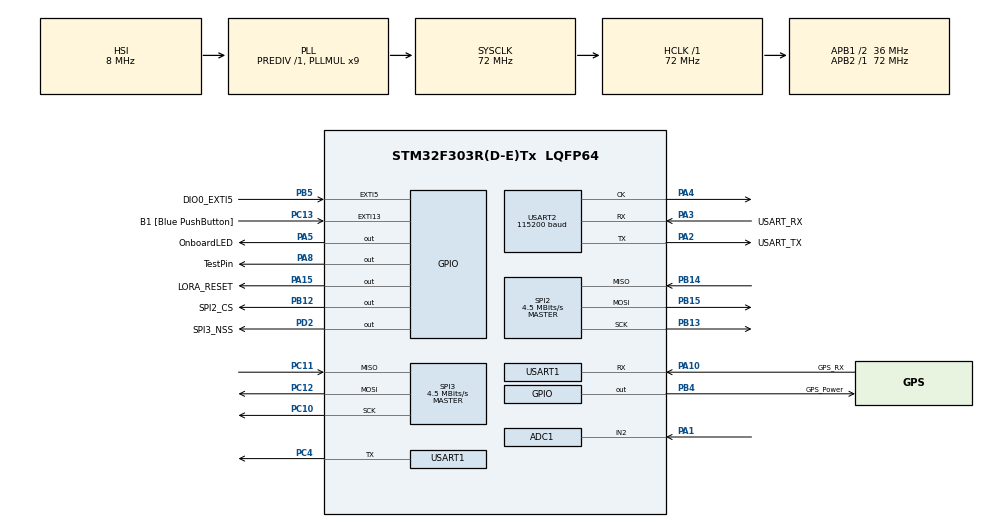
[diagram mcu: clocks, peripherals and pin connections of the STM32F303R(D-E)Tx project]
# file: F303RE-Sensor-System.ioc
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ADC1.Channel-0\#ChannelRegularConversion=ADC_CHANNEL_2
ADC1.NbrOfConversionFlag=1
ADC1.Offset-0\#ChannelRegularConversion=0
ADC1.OffsetNumber-0\#ChannelRegularConversion=ADC_OFFSET_NONE
ADC1.Rank-0\#ChannelRegularConversion=1
ADC1.SamplingTime-0\#ChannelRegularConversion=ADC_SAMPLETIME_1CYCLE_5
ADC1.SamplingTimeOPAMP-0\#ChannelRegularConversion=ADC_SAMPLETIME_61CYCLES_5
ADC1.master=1
Dma.Request0=SPI3_TX
Dma.SPI3_TX.0.Direction=DMA_MEMORY_TO_PERIPH
Dma.SPI3_TX.0.Instance=DMA2_Channel2
Dma.SPI3_TX.0.MemDataAlignment=DMA_MDATAALIGN_BYTE
Dma.SPI3_TX.0.MemInc=DMA_MINC_ENABLE
Dma.SPI3_TX.0.Mode=DMA_NORMAL
Dma.SPI3_TX.0.PeriphDataAlignment=DMA_PDATAALIGN_BYTE
Dma.SPI3_TX.0.PeriphInc=DMA_PINC_DISABLE
Dma.SPI3_TX.0.Priority=DMA_PRIORITY_LOW
FATFS._CODE_PAGE=1
FATFS._FS_REENTRANT=0
FATFS._MAX_SS=4096
FATFS._USE_LFN=0
FREERTOS.Queues01=sensorQueue,16,uint16_t,0,Dynamic,NULL,NULL;commandQueue,16,8,1,Dynamic,NULL,NULL
FREERTOS.Tasks01=defaultTask,16,512,StartDefaultTask,Default,NULL,Dynamic,NULL,NULL;sensorTask,8,512,StartSensorTask,Default,NULL,Dynamic,NULL,NULL;loggingTask,8,1280,StartLoggingTask,Default,NULL,Dynamic,NULL,NULL;commandTask,8,512,StartCommandTask,Default,NULL,Dynamic,NULL,NULL;commProcessTask,8,256,StartCommandProcessTask,Default,NULL,Dynamic,NULL,NULL
FREERTOS.configTOTAL_HEAP_SIZE=16384
FREERTOS.configUSE_NEWLIB_REENTRANT=0
Mcu.Family=STM32F3
Mcu.Name=STM32F303R(D-E)Tx
Mcu.Package=LQFP64
NVIC.ADC1_2_IRQn=true\:5\:0\:false\:false\:true\:true\:true\:true\:true
NVIC.DMA2_Channel2_IRQn=true\:5\:0\:false\:false\:true\:true\:false\:true\:true
NVIC.EXTI9_5_IRQn=true\:5\:0\:false\:false\:true\:true\:true\:true\:true
NVIC.PriorityGroup=NVIC_PRIORITYGROUP_4
NVIC.TIM6_DAC_IRQn=true\:15\:0\:false\:false\:true\:false\:false\:true\:true
NVIC.TimeBase=TIM6_DAC_IRQn
NVIC.TimeBaseIP=TIM6
NVIC.USART1_IRQn=true\:5\:0\:false\:false\:true\:true\:true\:true\:true
PA1.Mode=IN2-Single-Ended
PA1.Signal=ADC1_IN2
PA10.GPIO_Label=GPS_RX
PA10.Mode=Asynchronous
PA10.Signal=USART1_RX
PA13.GPIO_Label=TMS
PA13.Signal=SYS_JTMS-SWDIO
PA14.GPIO_Label=TCK
PA14.Signal=SYS_JTCK-SWCLK
PA15.GPIO_Label=LORA_RESET
PA15.PinState=GPIO_PIN_SET
PA15.Signal=GPIO_Output
PA2.GPIO_Label=USART_TX
PA2.GPIO_Mode=GPIO_MODE_AF_PP
PA2.GPIO_PuPd=GPIO_NOPULL
PA2.GPIO_Speed=GPIO_SPEED_FREQ_LOW
PA2.Mode=Synchronous
PA2.Signal=USART2_TX
PA3.GPIO_Label=USART_RX
PA3.GPIO_Mode=GPIO_MODE_AF_PP
PA3.GPIO_PuPd=GPIO_NOPULL
PA3.GPIO_Speed=GPIO_SPEED_FREQ_LOW
PA3.Mode=Synchronous
PA3.Signal=USART2_RX
PA4.Mode=Synchronous
PA4.Signal=USART2_CK
PA5.GPIO_Label=OnboardLED
PA5.GPIO_Mode=GPIO_MODE_OUTPUT_PP
PA5.GPIO_PuPd=GPIO_NOPULL
PA5.GPIO_Speed=GPIO_SPEED_FREQ_LOW
PA5.Signal=GPIO_Output
PA8.GPIO_Label=TestPin
PA8.Signal=GPIO_Output
PB12.GPIO_Label=SPI2_CS
PB12.PinState=GPIO_PIN_SET
PB12.Signal=GPIO_Output
PB13.Mode=Full_Duplex_Master
PB13.Signal=SPI2_SCK
PB14.Mode=Full_Duplex_Master
PB14.Signal=SPI2_MISO
PB15.Mode=Full_Duplex_Master
PB15.Signal=SPI2_MOSI
PB3.GPIO_Label=SWO
PB3.Signal=SYS_JTDO-TRACESWO
PB4.GPIO_Label=GPS_Power
PB4.PinState=GPIO_PIN_SET
PB4.Signal=GPIO_Output
PB5.GPIO_Label=DIO0_EXTI5
PB5.Signal=GPXTI5
PC10.Mode=Full_Duplex_Master
PC10.Signal=SPI3_SCK
PC11.Mode=Full_Duplex_Master
PC11.Signal=SPI3_MISO
PC12.Mode=Full_Duplex_Master
PC12.Signal=SPI3_MOSI
PC13.GPIO_Label=B1 [Blue PushButton]
PC13.GPIO_ModeDefaultEXTI=GPIO_MODE_IT_FALLING
PC13.Signal=GPXTI13
PC14-OSC32_IN.Signal=RCC_OSC32_IN
PC15-OSC32_OUT.Signal=RCC_OSC32_OUT
PC4.Mode=Asynchronous
PC4.Signal=USART1_TX
PD2.GPIO_Label=SPI3_NSS
PD2.PinState=GPIO_PIN_SET
PD2.Signal=GPIO_Output
PF0-OSC_IN.Signal=RCC_OSC_IN
PF1-OSC_OUT.Signal=RCC_OSC_OUT
ProjectManager.HeapSize=0x200
ProjectManager.StackSize=0x400
ProjectManager.TargetToolchain=STM32CubeIDE
RCC.AHBFreq_Value=72000000
RCC.APB1CLKDivider=RCC_HCLK_DIV2
RCC.APB1Freq_Value=36000000
RCC.APB1TimFreq_Value=72000000
RCC.APB2Freq_Value=72000000
RCC.APB2TimFreq_Value=72000000
RCC.CortexFreq_Value=72000000
RCC.HCLKFreq_Value=72000000
RCC.HSE_VALUE=8000000
RCC.HSI_VALUE=8000000
RCC.LSE_VALUE=32768
RCC.PLLM=8
RCC.PLLMUL=RCC_PLL_MUL9
RCC.PLLN=336
RCC.PLLP=RCC_PLLP_DIV4
RCC.PLLQ=7
RCC.RCC_PLLsource_Clock_Source_FROM_HSE=RCC_HSE_PREDIV_DIV2
RCC.SYSCLKFreq_VALUE=72000000
RCC.SYSCLKSourceVirtual=RCC_SYSCLKSOURCE_PLLCLK
RCC.USBFreq_Value=72000000
SPI2.BaudRatePrescaler=SPI_BAUDRATEPRESCALER_8
SPI2.CalculateBaudRate=4.5 MBits/s
SPI2.DataSize=SPI_DATASIZE_8BIT
SPI2.Direction=SPI_DIRECTION_2LINES
SPI2.Mode=SPI_MODE_MASTER
SPI2.VirtualType=VM_MASTER
SPI3.BaudRatePrescaler=SPI_BAUDRATEPRESCALER_8
SPI3.CalculateBaudRate=4.5 MBits/s
SPI3.DataSize=SPI_DATASIZE_8BIT
SPI3.Direction=SPI_DIRECTION_2LINES
SPI3.Mode=SPI_MODE_MASTER
SPI3.VirtualType=VM_MASTER
USART1.BaudRate=9600
USART1.Mode=MODE_RX
USART1.VirtualMode-Asynchronous=VM_ASYNC
USART2.BaudRate=115200
USART2.VirtualMode-Synchronous=VM_SYNC
VP_FATFS_VS_Generic.Mode=User_defined
VP_FREERTOS_VS_CMSIS_V2.Mode=CMSIS_V2
VP_RTC_VS_RTC_Activate.Mode=RTC_Enabled
VP_RTC_VS_RTC_Calendar.Mode=RTC_Calendar
VP_SYS_VS_tim6.Mode=TIM6
board=NUCLEO-F303RE

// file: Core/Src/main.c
/* USER CODE BEGIN Header */
/**
  ******************************************************************************
  * @file           : main.c
  * @brief          : Main program body
  ******************************************************************************
  * @attention
  *
  * Copyright (c) 2024 STMicroelectronics.
  * All rights reserved.
  *
  * This software is licensed under terms that can be found in the LICENSE file
  * in the root directory of this software component.
  * If no LICENSE file comes with this software, it is provided AS-IS.
  *
  ******************************************************************************
  */

/**
 * D0 / D1 (PA2/3) used for USART2 for debugging / husart2
 * D2 (PA10) used for RX for GPS Module to get the current time for the system / huart1
 * D5 (PB4) GPS Power pin. Turn off to reset. (check if the module has a dedicated reset)
 * D13 used for onboard LED
 *
 * PB12 (CN10/Pin16) Flash SPI CS
 * PB13 (CN10/Pin30) Flash SPI CLK
 * PB14 (CN10/Pin28) Flash SPI MISO
 * PB15 (CN10/Pin26) Flash SPI MOSI
 *
 * PA8/D7 Test Pin
 *
 * PD2 (CN6/Pin4) LORA SPI NSS
 * PC10 (CN7/Pin1) LORA SPI CLK
 * PC11 (CN6/Pin2) LORA SPI MISO
 * PC12 (CN7/Pin3) LORA SPI MOSI
 * PA15 (CN7/Pin17) LORA RESET
 * PB5/D4 (CN9/Pin5) DIO0 External interrupt
 *
 * A1 (PA1) for Turbidity sensor
 * */

/* USER CODE END Header */
#include "main.h"
#include "cmsis_os.h"
#include "fatfs.h"

/* USER CODE BEGIN Includes */
//#include "buffer.h"
#include "lora_sx1276.h"
#include "gps.h"
#include "logger.h"
#include <time.h>
#include <stdlib.h>
/* USER CODE END Includes */

ADC_HandleTypeDef hadc1;

RTC_HandleTypeDef hrtc;

SPI_HandleTypeDef hspi2;
SPI_HandleTypeDef hspi3;
DMA_HandleTypeDef hdma_spi3_tx;

UART_HandleTypeDef huart1;
USART_HandleTypeDef husart2;

/* Definitions for defaultTask */
osThreadId_t defaultTaskHandle;
const osThreadAttr_t defaultTask_attributes = {
  .name = "defaultTask",
  .stack_size = 512 * 4,
  .priority = (osPriority_t) osPriorityBelowNormal,
};
/* Definitions for sensorTask */
osThreadId_t sensorTaskHandle;
const osThreadAttr_t sensorTask_attributes = {
  .name = "sensorTask",
  .stack_size = 512 * 4,
  .priority = (osPriority_t) osPriorityLow,
};
/* Definitions for loggingTask */
osThreadId_t loggingTaskHandle;
const osThreadAttr_t loggingTask_attributes = {
  .name = "loggingTask",
  .stack_size = 1280 * 4,
  .priority = (osPriority_t) osPriorityLow,
};
/* Definitions for commandTask */
osThreadId_t commandTaskHandle;
const osThreadAttr_t commandTask_attributes = {
  .name = "commandTask",
  .stack_size = 512 * 4,
  .priority = (osPriority_t) osPriorityLow,
};
/* Definitions for commProcessTask */
osThreadId_t commProcessTaskHandle;
const osThreadAttr_t commProcessTask_attributes = {
  .name = "commProcessTask",
  .stack_size = 256 * 4,
  .priority = (osPriority_t) osPriorityLow,
};
/* Definitions for sensorQueue */
osMessageQueueId_t sensorQueueHandle;
const osMessageQueueAttr_t sensorQueue_attributes = {
  .name = "sensorQueue"
};
/* Definitions for commandQueue */
osMessageQueueId_t commandQueueHandle;
const osMessageQueueAttr_t commandQueue_attributes = {
  .name = "commandQueue"
};

void SystemClock_Config(void);
static void MX_GPIO_Init(void);
static void MX_DMA_Init(void);
static void MX_USART1_UART_Init(void);
static void MX_USART2_Init(void);
static void MX_RTC_Init(void);
static void MX_SPI2_Init(void);
static void MX_ADC1_Init(void);
static void MX_SPI3_Init(void);
void StartDefaultTask(void *argument);
void StartSensorTask(void *argument);
void StartLoggingTask(void *argument);
void StartCommandTask(void *argument);
void StartCommandProcessTask(void *argument);

/* USER CODE BEGIN 0 */

char debugBuffer[64] = {0};

uint8_t gps_rxBuffer[16] = {0};
volatile uint16_t gpsBytesInBuffer = 0;
volatile uint8_t startWaterSensing = 0;
volatile uint16_t waterSensorValue = 0;

lora_sx1276 lora;
uint8_t RXBuffer[64];
volatile uint8_t RXBufferStatus = 0; //1 is good and ready to read.

volatile uint8_t interruptTriggerDebug = 0; //For testing interrupts

//last recorded readings and data
uint16_t lastSensorS1Reading = 0;
logData_t lastLogLineRecorded;

/* USER CODE END 0 */

int main(void)
{

  /* MCU Configuration--------------------------------------------------------*/

  /* Reset of all peripherals, Initializes the Flash interface and the Systick. */
  HAL_Init();

  /* Configure the system clock */
  SystemClock_Config();

  /* Initialize all configured peripherals */
  MX_GPIO_Init();
  MX_DMA_Init();
  MX_USART1_UART_Init();
  MX_USART2_Init();
  MX_RTC_Init();
  MX_SPI2_Init();
  MX_FATFS_Init();
  MX_ADC1_Init();
  MX_SPI3_Init();
  /* USER CODE BEGIN 2 */

  //Add any pre-RTOS code here before it takes over
  HAL_GPIO_WritePin(OnboardLED_GPIO_Port, OnboardLED_Pin, GPIO_PIN_SET);

  // SX1276 compatible module connected to SPI1, NSS pin connected to GPIO with label LORA_NSS
  uint8_t res = lora_init(&lora, &hspi3, SPI3_NSS_GPIO_Port, SPI3_NSS_Pin, LORA_BASE_FREQUENCY_US);

  if (res != LORA_OK) {
  	DebugOutput("RFM95 init failed", res);
  } else {
	DebugOutput("RFM95 init success", res);
  }

  /* USER CODE END 2 */

  /* Init scheduler */
  osKernelInitialize();

  /* Create the queue(s) */
  /* creation of sensorQueue */
  sensorQueueHandle = osMessageQueueNew (16, sizeof(uint16_t), &sensorQueue_attributes);

  /* creation of commandQueue */
  commandQueueHandle = osMessageQueueNew (16, 8, &commandQueue_attributes);

  /* Create the thread(s) */
  /* creation of defaultTask */
  defaultTaskHandle = osThreadNew(StartDefaultTask, NULL, &defaultTask_attributes);

  /* creation of sensorTask */
  sensorTaskHandle = osThreadNew(StartSensorTask, NULL, &sensorTask_attributes);

  /* creation of loggingTask */
  loggingTaskHandle = osThreadNew(StartLoggingTask, NULL, &loggingTask_attributes);

  /* creation of commandTask */
  commandTaskHandle = osThreadNew(StartCommandTask, NULL, &commandTask_attributes);

  /* creation of commProcessTask */
  commProcessTaskHandle = osThreadNew(StartCommandProcessTask, NULL, &commProcessTask_attributes);

  /* Start scheduler */
  osKernelStart();

  /* We should never get here as control is now taken by the scheduler */

  /* Infinite loop */
  /* USER CODE BEGIN WHILE */

  while (1)
  {
	  DebugOutput("Warning! Should not reach here under FreeRTOS. ", 999);
	  HAL_Delay(3000);

    /* USER CODE END WHILE */

  }
}

void SystemClock_Config(void)
{
  RCC_OscInitTypeDef RCC_OscInitStruct = {0};
  RCC_ClkInitTypeDef RCC_ClkInitStruct = {0};
  RCC_PeriphCLKInitTypeDef PeriphClkInit = {0};

  /** Initializes the RCC Oscillators according to the specified parameters
  * in the RCC_OscInitTypeDef structure.
  */
  RCC_OscInitStruct.OscillatorType = RCC_OSCILLATORTYPE_HSI|RCC_OSCILLATORTYPE_LSI;
  RCC_OscInitStruct.HSIState = RCC_HSI_ON;
  RCC_OscInitStruct.HSICalibrationValue = RCC_HSICALIBRATION_DEFAULT;
  RCC_OscInitStruct.LSIState = RCC_LSI_ON;
  RCC_OscInitStruct.PLL.PLLState = RCC_PLL_ON;
  RCC_OscInitStruct.PLL.PLLSource = RCC_PLLSOURCE_HSI;
  RCC_OscInitStruct.PLL.PLLMUL = RCC_PLL_MUL9;
  RCC_OscInitStruct.PLL.PREDIV = RCC_PREDIV_DIV1;
  if (HAL_RCC_OscConfig(&RCC_OscInitStruct) != HAL_OK)
  {
    Error_Handler();
  }

  /** Initializes the CPU, AHB and APB buses clocks
  */
  RCC_ClkInitStruct.ClockType = RCC_CLOCKTYPE_HCLK|RCC_CLOCKTYPE_SYSCLK
                              |RCC_CLOCKTYPE_PCLK1|RCC_CLOCKTYPE_PCLK2;
  RCC_ClkInitStruct.SYSCLKSource = RCC_SYSCLKSOURCE_PLLCLK;
  RCC_ClkInitStruct.AHBCLKDivider = RCC_SYSCLK_DIV1;
  RCC_ClkInitStruct.APB1CLKDivider = RCC_HCLK_DIV2;
  RCC_ClkInitStruct.APB2CLKDivider = RCC_HCLK_DIV1;

  if (HAL_RCC_ClockConfig(&RCC_ClkInitStruct, FLASH_LATENCY_2) != HAL_OK)
  {
    Error_Handler();
  }
  PeriphClkInit.PeriphClockSelection = RCC_PERIPHCLK_USART1|RCC_PERIPHCLK_USART2
                              |RCC_PERIPHCLK_RTC|RCC_PERIPHCLK_ADC12;
  PeriphClkInit.Usart1ClockSelection = RCC_USART1CLKSOURCE_PCLK2;
  PeriphClkInit.Usart2ClockSelection = RCC_USART2CLKSOURCE_PCLK1;
  PeriphClkInit.Adc12ClockSelection = RCC_ADC12PLLCLK_DIV1;
  PeriphClkInit.RTCClockSelection = RCC_RTCCLKSOURCE_LSI;
  if (HAL_RCCEx_PeriphCLKConfig(&PeriphClkInit) != HAL_OK)
  {
    Error_Handler();
  }
}

static void MX_ADC1_Init(void)
{

  ADC_MultiModeTypeDef multimode = {0};
  ADC_ChannelConfTypeDef sConfig = {0};

  /** Common config
  */
  hadc1.Instance = ADC1;
  hadc1.Init.ClockPrescaler = ADC_CLOCK_ASYNC_DIV1;
  hadc1.Init.Resolution = ADC_RESOLUTION_12B;
  hadc1.Init.ScanConvMode = ADC_SCAN_DISABLE;
  hadc1.Init.ContinuousConvMode = DISABLE;
  hadc1.Init.DiscontinuousConvMode = DISABLE;
  hadc1.Init.ExternalTrigConvEdge = ADC_EXTERNALTRIGCONVEDGE_NONE;
  hadc1.Init.ExternalTrigConv = ADC_SOFTWARE_START;
  hadc1.Init.DataAlign = ADC_DATAALIGN_RIGHT;
  hadc1.Init.NbrOfConversion = 1;
  hadc1.Init.DMAContinuousRequests = DISABLE;
  hadc1.Init.EOCSelection = ADC_EOC_SINGLE_CONV;
  hadc1.Init.LowPowerAutoWait = DISABLE;
  hadc1.Init.Overrun = ADC_OVR_DATA_OVERWRITTEN;
  if (HAL_ADC_Init(&hadc1) != HAL_OK)
  {
    Error_Handler();
  }

  /** Configure the ADC multi-mode
  */
  multimode.Mode = ADC_MODE_INDEPENDENT;
  if (HAL_ADCEx_MultiModeConfigChannel(&hadc1, &multimode) != HAL_OK)
  {
    Error_Handler();
  }

  /** Configure Regular Channel
  */
  sConfig.Channel = ADC_CHANNEL_2;
  sConfig.Rank = ADC_REGULAR_RANK_1;
  sConfig.SingleDiff = ADC_SINGLE_ENDED;
  sConfig.SamplingTime = ADC_SAMPLETIME_1CYCLE_5;
  sConfig.OffsetNumber = ADC_OFFSET_NONE;
  sConfig.Offset = 0;
  if (HAL_ADC_ConfigChannel(&hadc1, &sConfig) != HAL_OK)
  {
    Error_Handler();
  }

}

static void MX_RTC_Init(void)
{

  RTC_TimeTypeDef sTime = {0};
  RTC_DateTypeDef sDate = {0};

  /** Initialize RTC Only
  */
  hrtc.Instance = RTC;
  hrtc.Init.HourFormat = RTC_HOURFORMAT_24;
  hrtc.Init.AsynchPrediv = 127;
  hrtc.Init.SynchPrediv = 255;
  hrtc.Init.OutPut = RTC_OUTPUT_DISABLE;
  hrtc.Init.OutPutPolarity = RTC_OUTPUT_POLARITY_HIGH;
  hrtc.Init.OutPutType = RTC_OUTPUT_TYPE_OPENDRAIN;
  if (HAL_RTC_Init(&hrtc) != HAL_OK)
  {
    Error_Handler();
  }

  /** Initialize RTC and set the Time and Date
  */
  sTime.Hours = 0x0;
  sTime.Minutes = 0x0;
  sTime.Seconds = 0x0;
  sTime.DayLightSaving = RTC_DAYLIGHTSAVING_NONE;
  sTime.StoreOperation = RTC_STOREOPERATION_RESET;
  if (HAL_RTC_SetTime(&hrtc, &sTime, RTC_FORMAT_BCD) != HAL_OK)
  {
    Error_Handler();
  }
  sDate.WeekDay = RTC_WEEKDAY_MONDAY;
  sDate.Month = RTC_MONTH_JANUARY;
  sDate.Date = 0x1;
  sDate.Year = 0x0;

  if (HAL_RTC_SetDate(&hrtc, &sDate, RTC_FORMAT_BCD) != HAL_OK)
  {
    Error_Handler();
  }

}

static void MX_SPI2_Init(void)
{

  /* SPI2 parameter configuration*/
  hspi2.Instance = SPI2;
  hspi2.Init.Mode = SPI_MODE_MASTER;
  hspi2.Init.Direction = SPI_DIRECTION_2LINES;
  hspi2.Init.DataSize = SPI_DATASIZE_8BIT;
  hspi2.Init.CLKPolarity = SPI_POLARITY_LOW;
  hspi2.Init.CLKPhase = SPI_PHASE_1EDGE;
  hspi2.Init.NSS = SPI_NSS_SOFT;
  hspi2.Init.BaudRatePrescaler = SPI_BAUDRATEPRESCALER_8;
  hspi2.Init.FirstBit = SPI_FIRSTBIT_MSB;
  hspi2.Init.TIMode = SPI_TIMODE_DISABLE;
  hspi2.Init.CRCCalculation = SPI_CRCCALCULATION_DISABLE;
  hspi2.Init.CRCPolynomial = 7;
  hspi2.Init.CRCLength = SPI_CRC_LENGTH_DATASIZE;
  hspi2.Init.NSSPMode = SPI_NSS_PULSE_ENABLE;
  if (HAL_SPI_Init(&hspi2) != HAL_OK)
  {
    Error_Handler();
  }

}

static void MX_SPI3_Init(void)
{

  /* SPI3 parameter configuration*/
  hspi3.Instance = SPI3;
  hspi3.Init.Mode = SPI_MODE_MASTER;
  hspi3.Init.Direction = SPI_DIRECTION_2LINES;
  hspi3.Init.DataSize = SPI_DATASIZE_8BIT;
  hspi3.Init.CLKPolarity = SPI_POLARITY_LOW;
  hspi3.Init.CLKPhase = SPI_PHASE_1EDGE;
  hspi3.Init.NSS = SPI_NSS_SOFT;
  hspi3.Init.BaudRatePrescaler = SPI_BAUDRATEPRESCALER_8;
  hspi3.Init.FirstBit = SPI_FIRSTBIT_MSB;
  hspi3.Init.TIMode = SPI_TIMODE_DISABLE;
  hspi3.Init.CRCCalculation = SPI_CRCCALCULATION_DISABLE;
  hspi3.Init.CRCPolynomial = 7;
  hspi3.Init.CRCLength = SPI_CRC_LENGTH_DATASIZE;
  hspi3.Init.NSSPMode = SPI_NSS_PULSE_ENABLE;
  if (HAL_SPI_Init(&hspi3) != HAL_OK)
  {
    Error_Handler();
  }

}

static void MX_USART1_UART_Init(void)
{

  huart1.Instance = USART1;
  huart1.Init.BaudRate = 9600;
  huart1.Init.WordLength = UART_WORDLENGTH_8B;
  huart1.Init.StopBits = UART_STOPBITS_1;
  huart1.Init.Parity = UART_PARITY_NONE;
  huart1.Init.Mode = UART_MODE_RX;
  huart1.Init.HwFlowCtl = UART_HWCONTROL_NONE;
  huart1.Init.OverSampling = UART_OVERSAMPLING_16;
  huart1.Init.OneBitSampling = UART_ONE_BIT_SAMPLE_DISABLE;
  huart1.AdvancedInit.AdvFeatureInit = UART_ADVFEATURE_NO_INIT;
  if (HAL_UART_Init(&huart1) != HAL_OK)
  {
    Error_Handler();
  }

}

static void MX_USART2_Init(void)
{

  husart2.Instance = USART2;
  husart2.Init.BaudRate = 115200;
  husart2.Init.WordLength = USART_WORDLENGTH_8B;
  husart2.Init.StopBits = USART_STOPBITS_1;
  husart2.Init.Parity = USART_PARITY_NONE;
  husart2.Init.Mode = USART_MODE_TX_RX;
  husart2.Init.CLKPolarity = USART_POLARITY_LOW;
  husart2.Init.CLKPhase = USART_PHASE_1EDGE;
  husart2.Init.CLKLastBit = USART_LASTBIT_DISABLE;
  if (HAL_USART_Init(&husart2) != HAL_OK)
  {
    Error_Handler();
  }

}

static void MX_DMA_Init(void)
{

  /* DMA controller clock enable */
  __HAL_RCC_DMA2_CLK_ENABLE();

  /* DMA interrupt init */
  /* DMA2_Channel2_IRQn interrupt configuration */
  HAL_NVIC_SetPriority(DMA2_Channel2_IRQn, 5, 0);
  HAL_NVIC_EnableIRQ(DMA2_Channel2_IRQn);

}

static void MX_GPIO_Init(void)
{
  GPIO_InitTypeDef GPIO_InitStruct = {0};

  /* GPIO Ports Clock Enable */
  __HAL_RCC_GPIOC_CLK_ENABLE();
  __HAL_RCC_GPIOF_CLK_ENABLE();
  __HAL_RCC_GPIOA_CLK_ENABLE();
  __HAL_RCC_GPIOB_CLK_ENABLE();
  __HAL_RCC_GPIOD_CLK_ENABLE();

  /*Configure GPIO pin Output Level */
  HAL_GPIO_WritePin(GPIOA, OnboardLED_Pin|TestPin_Pin, GPIO_PIN_RESET);

  /*Configure GPIO pin Output Level */
  HAL_GPIO_WritePin(GPIOB, SPI2_CS_Pin|GPS_Power_Pin, GPIO_PIN_SET);

  /*Configure GPIO pin Output Level */
  HAL_GPIO_WritePin(LORA_RESET_GPIO_Port, LORA_RESET_Pin, GPIO_PIN_SET);

  /*Configure GPIO pin Output Level */
  HAL_GPIO_WritePin(SPI3_NSS_GPIO_Port, SPI3_NSS_Pin, GPIO_PIN_SET);

  /*Configure GPIO pin : B1_Pin */
  GPIO_InitStruct.Pin = B1_Pin;
  GPIO_InitStruct.Mode = GPIO_MODE_IT_FALLING;
  GPIO_InitStruct.Pull = GPIO_NOPULL;
  HAL_GPIO_Init(B1_GPIO_Port, &GPIO_InitStruct);

  /*Configure GPIO pins : OnboardLED_Pin TestPin_Pin LORA_RESET_Pin */
  GPIO_InitStruct.Pin = OnboardLED_Pin|TestPin_Pin|LORA_RESET_Pin;
  GPIO_InitStruct.Mode = GPIO_MODE_OUTPUT_PP;
  GPIO_InitStruct.Pull = GPIO_NOPULL;
  GPIO_InitStruct.Speed = GPIO_SPEED_FREQ_LOW;
  HAL_GPIO_Init(GPIOA, &GPIO_InitStruct);

  /*Configure GPIO pins : SPI2_CS_Pin GPS_Power_Pin */
  GPIO_InitStruct.Pin = SPI2_CS_Pin|GPS_Power_Pin;
  GPIO_InitStruct.Mode = GPIO_MODE_OUTPUT_PP;
  GPIO_InitStruct.Pull = GPIO_NOPULL;
  GPIO_InitStruct.Speed = GPIO_SPEED_FREQ_LOW;
  HAL_GPIO_Init(GPIOB, &GPIO_InitStruct);

  /*Configure GPIO pin : SPI3_NSS_Pin */
  GPIO_InitStruct.Pin = SPI3_NSS_Pin;
  GPIO_InitStruct.Mode = GPIO_MODE_OUTPUT_PP;
  GPIO_InitStruct.Pull = GPIO_NOPULL;
  GPIO_InitStruct.Speed = GPIO_SPEED_FREQ_LOW;
  HAL_GPIO_Init(SPI3_NSS_GPIO_Port, &GPIO_InitStruct);

  /*Configure GPIO pin : DIO0_EXTI5_Pin */
  GPIO_InitStruct.Pin = DIO0_EXTI5_Pin;
  GPIO_InitStruct.Mode = GPIO_MODE_IT_RISING;
  GPIO_InitStruct.Pull = GPIO_NOPULL;
  HAL_GPIO_Init(DIO0_EXTI5_GPIO_Port, &GPIO_InitStruct);

  /* EXTI interrupt init*/
  HAL_NVIC_SetPriority(EXTI9_5_IRQn, 5, 0);
  HAL_NVIC_EnableIRQ(EXTI9_5_IRQn);

}

/* USER CODE BEGIN 4 */

//Might need to consider:
//Before starting the next receive operation, make sure the DR register is empty (no data received on the UART interface after the last DR register read) to avoid UART overrun error:
//you can use this macro to flush the DR register: __HAL_UART_FLUSH_DRREGISTER()
//I notice with a reset on the power pin, this callback never recovers.
void HAL_UART_RxCpltCallback(UART_HandleTypeDef *huart){ //call every 16 bytes
//	okToOutput = 1;
//	DebugOutput("HAL_UART_RxCpltCallback", 1);
	gpsBuffer_WriteStreamDataChunkToCircularBuffer(gps_rxBuffer);
	gpsBytesInBuffer += 16;

	if (gps_TimeSyncRequired(hrtc)){
		HAL_UART_Receive_IT(&huart1, gps_rxBuffer, 16);
	}

}

void ADC_IRQHandler(){ //do I need this? Test without it.
    HAL_ADC_IRQHandler(&hadc1);
}

void HAL_ADC_ConvCpltCallback(ADC_HandleTypeDef* hadc){
	waterSensorValue = HAL_ADC_GetValue(&hadc1);
}

//Get time/date as string for logging.
void getSystemDateTimeFormatted(char* buffer){

	RTC_TimeTypeDef currentTime;
	RTC_DateTypeDef currentDate;
	HAL_RTC_GetTime(&hrtc, &currentTime, RTC_FORMAT_BIN);
	HAL_RTC_GetDate(&hrtc, &currentDate, RTC_FORMAT_BIN);

	sprintf(buffer, "%02d:%02d:%02d %02d/%02d/%02d",
		  currentTime.Hours, currentTime.Minutes, currentTime.Seconds,
		  currentDate.Date, currentDate.Month, currentDate.Year
	);
}

void DebugOutput(const char *message, int16_t number){
	//max: 93 message chars, 5 number chars, 2 lf/cr
	char buffer[100];
	snprintf(buffer, sizeof(buffer), "%s%d\r\n", message, number);

	int length = strlen(buffer);
	HAL_USART_Transmit(&husart2, (uint8_t *)buffer, length, 10U);

}

void HAL_GPIO_EXTI_Callback(uint16_t GPIO_Pin){

	if (GPIO_Pin == DIO0_EXTI5_Pin){
		interruptTriggerDebug = 1;

		if (RXBufferStatus == 1)
			return; //don't accept another packet until the first is taken and processed.

		uint8_t len = lora_receive_packet(&lora, RXBuffer, sizeof(RXBuffer), NULL); //no storing error info yet

		if (len > 0) {
			RXBufferStatus = 1;
			interruptTriggerDebug = len;
		}
	}
}

/* USER CODE END 4 */

void StartDefaultTask(void *argument)
{
  /* USER CODE BEGIN 5 */

  HAL_UART_Receive_IT(&huart1, gps_rxBuffer, 16);

  /* Infinite loop */
  for(;;)
  {
	DebugOutput("Running Default Task.", 1);

//	sprintf(debugBuffer, "gpsBytesInBuffer: %d\r\n", gpsBytesInBuffer);
//	HAL_USART_Transmit(&husart2, (uint8_t*)debugBuffer, strlen(debugBuffer), 10U);

	int gpsTimeSyncRequired = gps_TimeSyncRequired(hrtc);

	if (gpsTimeSyncRequired){

		if 	(gpsBytesInBuffer >= 128){
			char *cBuffer;
			cBuffer = gpsBuffer_GetCircularBuffer();
			HAL_USART_Transmit(&husart2, (uint8_t*)cBuffer, 128U, 100U);
			HAL_USART_Transmit(&husart2, (uint8_t*)"\r\n", 2U, 10U);
			DebugOutput("GPS", 1);

			gps_DownloadDateTimeViaSatellite(hrtc);

			gpsBytesInBuffer = 0;
		}

	} else {
//		RTC_HandleTypeDef rtc;
//		RTC_DateTypeDef currentDate;
//		HAL_RTC_GetDate(&rtc, &currentDate, RTC_FORMAT_BIN);

		DebugOutput("Timesync not required or timed out. Skipping.", 1);
		startWaterSensing = 1;
	}

	osDelay(3000);
	//DebugOutput("Finished Default Task.", 1);

  }
  /* USER CODE END 5 */
}

void StartSensorTask(void *argument)
{
  /* USER CODE BEGIN StartSensorTask */
  /* Infinite loop */

  for(;;)
  {
	//DebugOutput("StartSensorTask: ", 99);
	//DebugOutput("startWaterSensing --> : ", startWaterSensing);
	if (startWaterSensing == 1){
		//perform task, sense and push to queue

		//if there is an existing sense value, log it
//		if (waterSensorValue > 0){
			int16_t waterSensorValueForQueue = waterSensorValue;
			lastSensorS1Reading = waterSensorValue;
//			DebugOutput("WATER VALUE TO LOG -->: ", waterSensorValueForQueue);
			osStatus_t status = osMessageQueuePut(sensorQueueHandle, &waterSensorValueForQueue, 0, 0);
			DebugOutput("Water value sent to the queue: ", waterSensorValueForQueue);
			DebugOutput("Sensor value queuing result: ", status);
//		}

		//Start the sensor

		HAL_ADC_Start_IT(&hadc1);

	}
    osDelay(2000);
  }
  /* USER CODE END StartSensorTask */
}

/* USER CODE BEGIN Header_StartLoggingTask */
/**
* @brief Only purpose is to monitor the logging queue and therefore log to SD card storage
* @param argument: Not used
* @retval None
*/
/* USER CODE END Header_StartLoggingTask */
void StartLoggingTask(void *argument)
{
  /* USER CODE BEGIN StartLoggingTask */

  uint16_t receivedNumber = 0;

  /* Infinite loop */
  for(;;)
  {
	//DebugOutput("Logging from the queue: ", 1);

	if (startWaterSensing == 1){

		uint32_t queueCount = osMessageQueueGetCount(sensorQueueHandle);

		DebugOutput("SensorQueueCount: ", queueCount);

		if (queueCount > 0){
			osStatus_t status = osMessageQueueGet(sensorQueueHandle, &receivedNumber, NULL, 2);

			if (status == osOK){
//				waterSensorValue = 0; //clear value for next reading.

//				DebugOutput("Received...: ", receivedNumber);

				char timeDateBuffer[30];
				getSystemDateTimeFormatted(timeDateBuffer);

				logData_t data;
				strcpy(data.dateTime, timeDateBuffer);
				data.typeCode = 'W';
				data.value = receivedNumber;

				sprintf(debugBuffer, "Logging sensor data: %s, %c, %d\r\n", data.dateTime, data.typeCode, data.value);
				HAL_USART_Transmit(&husart2, (uint8_t*)debugBuffer, strlen(debugBuffer), 10U);

				logger_log(data);
				lastLogLineRecorded = data;

				//Light LED to indicate safe period to reset or unplug
				HAL_GPIO_WritePin(OnboardLED_GPIO_Port, OnboardLED_Pin, GPIO_PIN_SET);
				DebugOutput("5 seconds to remove card.", 0);
				osDelay(5000);
				HAL_GPIO_WritePin(OnboardLED_GPIO_Port, OnboardLED_Pin, GPIO_PIN_RESET);

				//DebugOutput("End Log. Do not remove card.", 0);

				receivedNumber = 0;
			} else {
				DebugOutput("Error from queue...: ", status);
			}
		}

	}
    osDelay(1000);

  }
  /* USER CODE END StartLoggingTask */
}

void StartCommandTask(void *argument)
{
  /* USER CODE BEGIN StartCommandTask */
  //lora_mode_receive_single(&lora);
  //lora_enable_interrupt_tx_done(&lora);
  lora_enable_interrupt_rx_done(&lora);
  lora_mode_receive_continuous(&lora); //if receive once, make sure this is set again

  /* Infinite loop */
  for(;;)
  {
//	  DebugOutput("Running Command Task.", 1);

	// Receive buffer
	if (RXBufferStatus == 1){
		DebugOutput("===========> INTERRUPT TRIGGERED LoRa Command Received RXBufferStatus: ", RXBufferStatus);

		HAL_USART_Transmit(&husart2, (uint8_t*)RXBuffer, 6U, 10U);
		HAL_USART_Transmit(&husart2, (uint8_t*)"\r\n", 2U, 10U);

		osStatus_t status = osMessageQueuePut(commandQueueHandle, &RXBuffer, 0, 0);
		if (status != osOK){
//			DebugOutput("Command FAILED to queue: ", status);
		} else {
//			DebugOutput("Command OK to queue: ", status);
		}

		memset(RXBuffer, '\0', sizeof(RXBuffer));
		RXBufferStatus = 0; //clear: ready for interrupt to accept the next LoRa packet.
		osDelay(200);
	} else { //lora rx text. No buffer yet

	}

//	if (interruptTriggerDebug > 0){
//		DebugOutput("------------ INTERRUPT TRIGGERED ------------", interruptTriggerDebug);
//		interruptTriggerDebug = 0;
//	}

	//DebugOutput("Ending Command Task.", 1);

    osDelay(1000);
  }
  /* USER CODE END StartCommandTask */
}

void StartCommandProcessTask(void *argument)
{
  /* USER CODE BEGIN StartCommandProcessTask */
  /* Infinite loop */

  uint8_t gatewayResponseBuffer[64];

  for(;;)
  {
    uint8_t commandQueueBuffer[6] = {0};
    uint32_t queueCount = osMessageQueueGetCount(commandQueueHandle);

//	DebugOutput("CommandQueueCount: ", queueCount);

	if (queueCount > 0){
		osStatus_t status = osMessageQueueGet(commandQueueHandle, &commandQueueBuffer, NULL, 0);

		if (status == osOK){
			HAL_USART_Transmit(&husart2, commandQueueBuffer, 6U, 100U);
			DebugOutput(" ", 999);

			if (strcmp((const char *)commandQueueBuffer, "GET S1") == 0){
				DebugOutput("GET S1 COMPARED", 999);

				sprintf((char *)gatewayResponseBuffer, "Sensor S1 last reading was: %d", lastSensorS1Reading);
				uint8_t res = lora_send_packet_blocking(&lora, gatewayResponseBuffer, strlen((char*)gatewayResponseBuffer), 200U);
				if (res == LORA_OK) {
					DebugOutput("Successful send to the gateway", res);
				} else {
					DebugOutput("Unsuccessful send to the gateway", res);
				}

				lora_mode_receive_continuous(&lora);
			}

			if (strcmp((const char *)commandQueueBuffer, "GET L") == 0){
				DebugOutput("GET L COMPARED", 999);

				sprintf((char *)gatewayResponseBuffer, "LOG: %c | %d | %s ", lastLogLineRecorded.typeCode, lastLogLineRecorded.value, lastLogLineRecorded.dateTime);
				uint8_t res = lora_send_packet_blocking(&lora, gatewayResponseBuffer, strlen((char*)gatewayResponseBuffer), 200U);
				if (res == LORA_OK) {
					DebugOutput("Successful send to the gateway", res);
				} else {
					DebugOutput("Unsuccessful send to the gateway", res);
				}

				lora_mode_receive_continuous(&lora);
			}

			if (strcmp((const char *)commandQueueBuffer, "PING") == 0){
				DebugOutput("PING COMPARED", 999);

				uint8_t res = lora_send_packet_blocking(&lora, (uint8_t *)"PONG", 4U, 200U);
				if (res == LORA_OK) {
					HAL_USART_Transmit(&husart2, (uint8_t *)"Success ack from system\r\n", 25U, 100U);
				} else {
					HAL_USART_Transmit(&husart2, (uint8_t *)"Error ack from system\r\n", 23U, 100U);
				}

				lora_mode_receive_continuous(&lora);
			}

			if (strcmp((const char *)commandQueueBuffer, "RES G") == 0){
				DebugOutput("RES G COMPARED", 999);

				HAL_GPIO_WritePin(GPS_Power_GPIO_Port, GPS_Power_Pin, GPIO_PIN_RESET);
				osDelay(1000);
				HAL_GPIO_WritePin(GPS_Power_GPIO_Port, GPS_Power_Pin, GPIO_PIN_SET);
				gps_ResetSyncAttempts();
				HAL_UART_Receive_IT(&huart1, gps_rxBuffer, 16);

				uint8_t res = lora_send_packet_blocking(&lora, (uint8_t *)"GPS module reset", 16U, 200U);
				if (res == LORA_OK) {
					HAL_USART_Transmit(&husart2, (uint8_t *)"Success ack from system\r\n", 25U, 100U);
				} else {
					HAL_USART_Transmit(&husart2, (uint8_t *)"Error ack from system\r\n", 23U, 100U);
				}

				lora_mode_receive_continuous(&lora);
			}

		} else {
			DebugOutput("Error from command queue...: ", status);
		}
	}

	osDelay(4000);
  }
  /* USER CODE END StartCommandProcessTask */
}

void HAL_TIM_PeriodElapsedCallback(TIM_HandleTypeDef *htim)
{
  if (htim->Instance == TIM6) {
    HAL_IncTick();
  }
}

void Error_Handler(void)
{
  __disable_irq();
  while (1)
  {
  }
}
